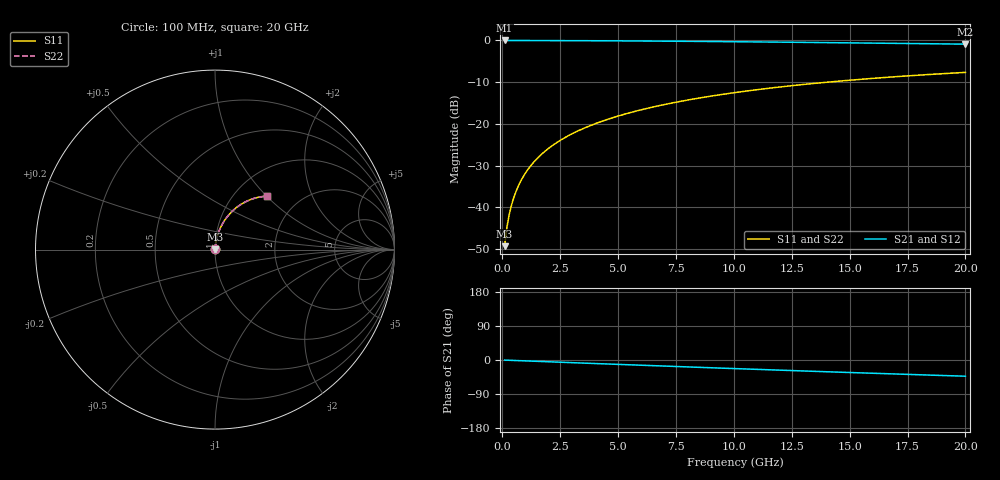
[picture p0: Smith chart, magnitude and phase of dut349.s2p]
! Touchstone file exported from HFSS 2026.1.0
!  File:  C:/ffzhzh/LocalFiles/Ansys_Project_Files/temp_train_TMRDL_349_1783003951_55676.aedt
!  Generated:  10:53:57 PM Jul  2, 2026
!  Design:  TMRDL
!  Project:  temp_train_TMRDL_349_1783003951_55676
! Variables:
!  h_bsmrdl = 2um
!  h_ox = 20um
!  h_rdl = 5um
!  h_sub = 80um
!  h_tmrdl = 4.63um
!  h_tsv = 80um
!  h_via = 3um
!  l_bsmrdl = 300um
!  l_sub = 1002.15um
!  l_tmrdl = 602.15um
!  m_sub = 200um
!  pitch = 59.61um
!  r_tsv = 6um
!  s_tmrdl = 10um
!  w_bsmrdl = 18um
!  w_sub = 500um
!  w_tmrdl = 24.1um
!  x_tsv_center1 = 614.2um
!  x_tsv_center2 = 932.2um
!  x_tsv_center3 = 1558.45um
!  x_tsv_center4 = 1876.45um
!  x_tsv_center5 = 2502.7um
!  x_tsv_center6 = 2820.7um
# GHz S MA R 50.000000
! Terminal data exported
! Port[1] = TM_RDL1_1_T1
! Port[2] = TM_RDL1_1_T2
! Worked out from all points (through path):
!   200 points, 100 MHz to 20 GHz, reference 50 ohm
!   highest |S21| = -0.02 dB at 100 MHz (marker M1); lowest = -0.9 dB at 20 GHz (marker M2)
!   group delay of S21, straight-line fit = 5.95 ps
!   lowest |S11| = -49.3 dB at 100 MHz (marker M3), VSWR 1.01, Z = 50.2 + j0.274 ohm
!   |S11| at or under -10 dB: start of sweep to 14.05 GHz
!   |S22| runs from -49.3 to -7.7 dB; largest |S21 - S12| = 3.4e-15
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0.1  0.003443 52.3  0.9979 -0.2  0.9979 -0.2  0.003443 52.3
! Gamma 0 0 0 0
! Port Impedance 50 0 50 0
0.2  0.005807 67.0  0.9978 -0.5  0.9978 -0.5  0.005807 67.0
0.3  0.008259 72.9  0.9976 -0.7  0.9976 -0.7  0.008259 72.9
0.4  0.01073 76.1  0.9975 -1.0  0.9975 -1.0  0.01073 76.1
0.5  0.01322 78.1  0.9975 -1.2  0.9975 -1.2  0.01322 78.1
0.7  0.01824 80.3  0.9973 -1.7  0.9973 -1.7  0.01824 80.3
0.8  0.02076 81.0  0.9972 -1.9  0.9972 -1.9  0.02076 81.0
1  0.02581 81.7  0.997 -2.4  0.997 -2.4  0.02581 81.7
1.2  0.03087 82.1  0.9968 -2.8  0.9968 -2.8  0.03087 82.1
1.4  0.03592 82.2  0.9965 -3.3  0.9965 -3.3  0.03592 82.2
1.7  0.04349 82.1  0.9961 -4.0  0.9961 -4.0  0.04349 82.1
2  0.05103 81.8  0.9956 -4.7  0.9956 -4.7  0.05103 81.8
2.7  0.06849 80.7  0.9941 -6.3  0.9941 -6.3  0.06849 80.7
3.5  0.08818 79.2  0.992 -8.2  0.992 -8.2  0.08818 79.2
4.2  0.1052 77.8  0.9899 -9.8  0.9899 -9.8  0.1052 77.8
5  0.1243 76.1  0.9872 -11.6  0.9872 -11.6  0.1243 76.1
6.8  0.1661 72.3  0.9801 -15.6  0.9801 -15.6  0.1661 72.3
8.3  0.1997 69.1  0.9732 -18.9  0.9732 -18.9  0.1997 69.1
10.1  0.2384 65.4  0.9638 -22.8  0.9638 -22.8  0.2384 65.4
13.4  0.3042 58.7  0.9444 -29.8  0.9444 -29.8  0.3042 58.7
16.7  0.3628 52.2  0.9231 -36.4  0.9231 -36.4  0.3628 52.2
20  0.414 46.0  0.9012 -42.8  0.9012 -42.8  0.414 46.0
